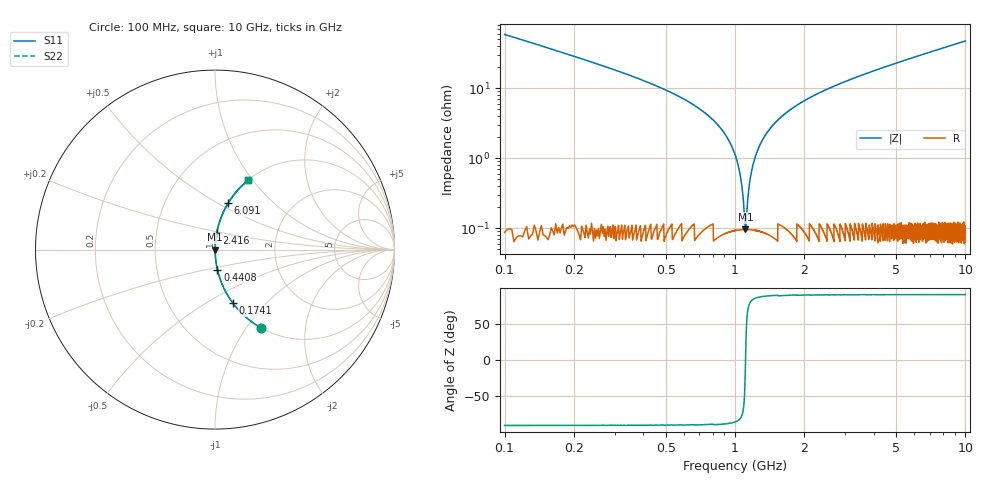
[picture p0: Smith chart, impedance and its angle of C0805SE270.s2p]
! AVX Thin Film Operation		Date: April 2012
! Description: Accu-P® Series, Thin Film, SMD, RF Capacitor
! Part Number: 08053J270FBTTR
!	100	MHz	-	10.05	GHz
!	Serial	Measurements
#	MHZ	S	MA	R	50
!	S11	S21	S12	S22
!	dB	Phase	dB	Phase	dB	Phase	dB	Phase
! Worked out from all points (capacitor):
!   4010 points, 100 MHz to 10 GHz, reference 50 ohm
!   read as one part in series: C = 27 pF near 149.4 MHz
!   lowest |Z| = 95.5 mohm at 1.11 GHz (marker M1)
!   series resonance near 1.111 GHz, so ESL is about 760 pH
!   S11 on the Smith chart (normalised r, x): 100 MHz: 1.00, -1.17; 174.1 MHz: 1.00, -0.66; 440.8 MHz: 1.00, -0.23; 2.416 GHz: 1.00, +0.18; 6.091 GHz: 1.00, +0.56; 10 GHz: 1.00, +0.94
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100  0.504 -59.6  0.863 30.3  0.863 30.3  0.504 -59.6
174.083  0.313 -71.6  0.949 18.3  0.949 18.3  0.313 -71.6
440.783  0.112 -83.1  0.993 6.4  0.993 6.4  0.112 -83.1
756.872  0.042 -86.4  0.998 2.4  0.998 2.4  0.042 -86.4
919.855  0.02 -86.3  0.999 1.2  0.999 1.2  0.02 -86.3
1008.755  0.01 -84.4  0.999 0.6  0.999 0.6  0.01 -84.4
1040.858  0.00697 -82.2  0.999 0.4  0.999 0.4  0.00697 -82.2
1077.9  0.00332 -74.1  0.999 0.2  0.999 0.2  0.00332 -74.1
1110.002  0.000904 -5.5  0.999 0.0  0.999 0.0  0.000904 -5.5
1142.105  0.00307 72.8  0.999 -0.2  0.999 -0.2  0.00307 72.8
1181.616  0.00661 81.8  0.999 -0.4  0.999 -0.4  0.00661 81.8
1216.189  0.00965 84.1  0.999 -0.6  0.999 -0.6  0.00965 84.1
1312.497  0.018 86.1  0.999 -1.0  0.999 -1.0  0.018 86.1
1485.358  0.031 86.6  0.999 -1.8  0.999 -1.8  0.031 86.6
1752.058  0.05 86.1  0.998 -2.9  0.998 -2.9  0.05 86.1
2416.338  0.091 84.2  0.995 -5.2  0.995 -5.2  0.091 84.2
3401.646  0.144 81.4  0.989 -8.3  0.989 -8.3  0.144 81.4
5051.235  0.224 76.9  0.974 -12.9  0.974 -12.9  0.224 76.9
6090.871  0.271 74.1  0.962 -15.7  0.962 -15.7  0.271 74.1
6700.823  0.297 72.6  0.954 -17.3  0.954 -17.3  0.297 72.6
8350.412  0.365 68.5  0.93 -21.4  0.93 -21.4  0.365 68.5
10000  0.426 64.7  0.904 -25.2  0.904 -25.2  0.426 64.7
